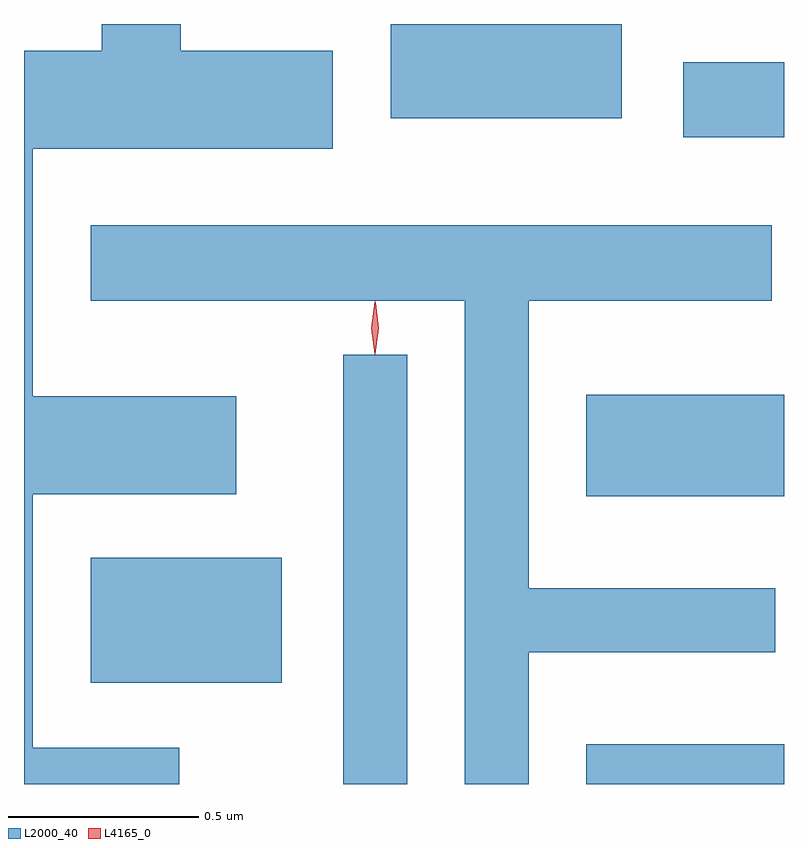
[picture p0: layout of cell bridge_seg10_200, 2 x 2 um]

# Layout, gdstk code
import gdstk
lib = gdstk.Library(unit=1e-6, precision=1e-09)
def R(c, l, rs):  # rectangles x0, y0, x1, y1
    for r in rs: c.add(gdstk.rectangle(r[:2], r[2:], *l))
def P(c, l, *ps):  # polygons
    for p in ps: c.add(gdstk.Polygon(p, *l))
L2000_40 = (2000, 40)
L4165_0 = (4165, 0)

bridge_seg10_200 = lib.new_cell('bridge_seg10_200')
R(bridge_seg10_200, L2000_40, [(1810.231,2141.044,1810.399,2142.173), (1810.871,2141.044,1811.391,2141.149), (1809.566,2141.311,1810.069,2141.639), (1810.871,2141.801,1811.391,2142.069), (1811.126,2142.746,1811.391,2142.944), (1810.356,2142.796,1810.964,2143.044)])
P(bridge_seg10_200, L2000_40, [(1809.799,2141.139),(1809.414,2141.139),(1809.414,2141.806),(1809.949,2141.806),(1809.949,2142.064),(1809.414,2142.064),(1809.414,2142.716),(1810.204,2142.716),(1810.204,2142.974),(1809.804,2142.974),(1809.804,2143.044),(1809.596,2143.044),(1809.596,2142.974),(1809.391,2142.974),(1809.391,2141.044),(1809.799,2141.044)],
  [(1810.719,2141.391),(1811.368,2141.391),(1811.368,2141.559),(1810.719,2141.559),(1810.719,2142.316),(1811.359,2142.316),(1811.359,2142.514),(1809.566,2142.514),(1809.566,2142.316),(1810.551,2142.316),(1810.551,2141.044),(1810.719,2141.044)])
P(bridge_seg10_200, L4165_0, [(1810.315,2142.174),(1810.314,2142.175),(1810.305,2142.244),(1810.314,2142.313),(1810.315,2142.314),(1810.315,2142.313),(1810.325,2142.244),(1810.315,2142.175)],
  [(1810.314,2142.178),(1810.305,2142.244),(1810.315,2142.31),(1810.315,2142.311),(1810.316,2142.31),(1810.325,2142.244),(1810.315,2142.178),(1810.315,2142.178)])

lib.write_gds('bridge_seg10_200.gds')
